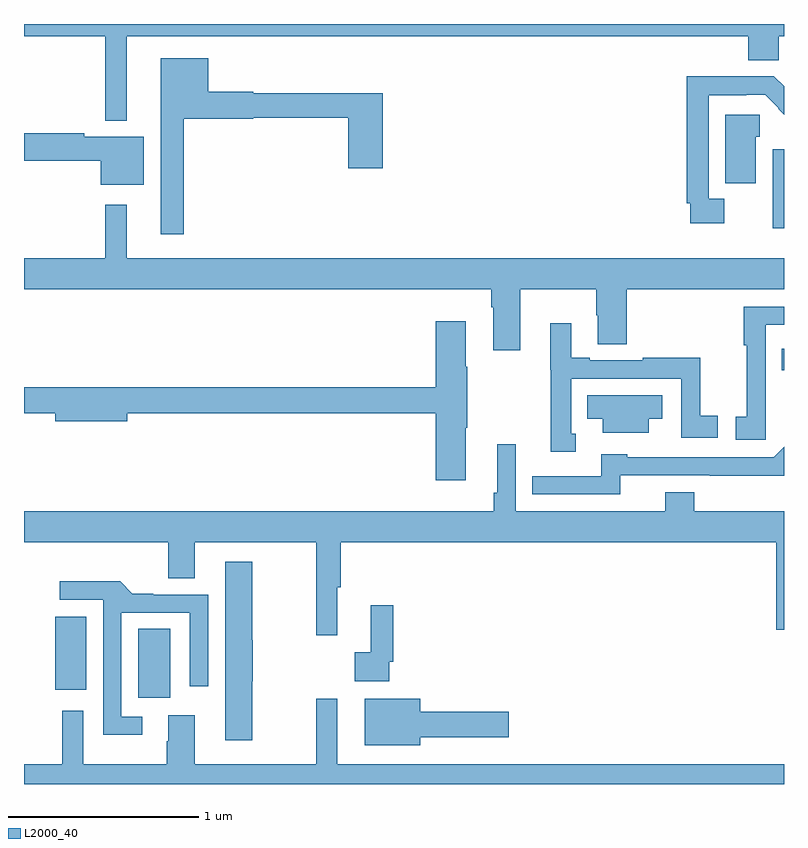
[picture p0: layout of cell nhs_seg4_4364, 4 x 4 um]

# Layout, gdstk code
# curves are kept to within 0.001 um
import gdstk
lib = gdstk.Library(unit=1e-6, precision=1e-09)
def R(c, l, rs):  # rectangles x0, y0, x1, y1
    for r in rs: c.add(gdstk.rectangle(r[:2], r[2:], *l))
def P(c, l, *ps):  # polygons
    for p in ps: c.add(gdstk.Polygon(p, *l))
L2000_40 = (2000, 40)

nhs_seg4_4364 = lib.new_cell('nhs_seg4_4364')
R(nhs_seg4_4364, L2000_40, [(345.602,777.354,345.769,777.716), (345.164,777.395,345.328,777.781), (348.988,779.078,349,779.191), (348.941,779.826,349,780.241)])
P(nhs_seg4_4364, L2000_40, [(345,780.836),(345.427,780.836),(345.427,780.392),(345.541,780.392),(345.541,780.836),(348.812,780.836),(348.812,780.71),(348.973,780.71),(348.973,780.836),(349,780.836),(349,780.9),(345,780.9)],
  [(345.841,780.401),(346.206,780.401),(346.206,780.406),(346.706,780.406),(346.706,780.141),(346.889,780.141),(346.889,780.535),(346.206,780.535),(346.206,780.543),(345.97,780.543),(345.97,780.721),(345.719,780.721),(345.719,779.793),(345.841,779.793)],
  [(348.686,779.98),(348.603,779.98),(348.603,780.524),(348.8,780.524),(348.8,780.528),(348.9,780.528),(348.972,780.456),(348.969,780.453),(349,780.422),(349,780.572),(348.947,780.625),(348.487,780.625),(348.487,779.956),(348.507,779.956),(348.507,779.852),(348.686,779.852)],
  [(348.85,780.306),(348.873,780.306),(348.873,780.423),(348.692,780.423),(348.692,780.061),(348.85,780.061)],
  [(345.631,780.307),(345.318,780.307),(345.318,780.326),(345,780.326),(345,780.179),(345.404,780.179),(345.404,780.053),(345.631,780.053)],
  [(347.611,779.504),(348.013,779.504),(348.013,779.366),(348.02,779.366),(348.02,779.215),(348.173,779.215),(348.173,779.504),(349,779.504),(349,779.668),(345.541,779.668),(345.541,779.95),(345.427,779.95),(345.427,779.668),(345,779.668),(345,779.504),(347.459,779.504),(347.459,779.408),(347.471,779.408),(347.471,779.184),(347.611,779.184)],
  [(348.904,778.988),(348.903,778.988),(348.903,779.316),(349,779.316),(349,779.412),(348.787,779.412),(348.787,779.209),(348.805,779.209),(348.805,778.833),(348.747,778.833),(348.747,778.713),(348.904,778.713)],
  [(347.326,778.775),(347.334,778.775),(347.334,779.096),(347.326,779.096),(347.326,779.335),(347.168,779.335),(347.168,778.988),(345,778.988),(345,778.852),(345.164,778.852),(345.164,778.81),(345.544,778.81),(345.544,778.852),(347.168,778.852),(347.168,778.5),(347.326,778.5)],
  [(347.905,778.743),(347.88,778.743),(347.88,779.034),(348.459,779.034),(348.459,778.722),(348.652,778.722),(348.652,778.838),(348.558,778.838),(348.558,779.143),(348.256,779.143),(348.256,779.13),(347.977,779.13),(347.977,779.143),(347.881,779.143),(347.881,779.326),(347.771,779.326),(347.771,779.081),(347.772,779.081),(347.772,778.649),(347.905,778.649)],
  [(348.289,778.823),(348.358,778.823),(348.358,778.945),(347.965,778.945),(347.965,778.823),(348.047,778.823),(348.047,778.748),(348.289,778.748)],
  [(346.649,777.936),(346.667,777.936),(346.667,778.172),(348.959,778.172),(348.959,777.711),(349,777.711),(349,778.336),(348.527,778.336),(348.527,778.435),(348.374,778.435),(348.374,778.336),(347.589,778.336),(347.589,778.687),(347.492,778.687),(347.492,778.432),(347.473,778.432),(347.473,778.336),(345,778.336),(345,778.172),(345.758,778.172),(345.758,777.982),(345.898,777.982),(345.898,778.172),(346.539,778.172),(346.539,777.684),(346.649,777.684)],
  [(348.138,778.524),(349,778.523),(349,778.675),(348.945,778.62),(348.174,778.62),(348.174,778.636),(348.038,778.636),(348.038,778.521),(347.674,778.521),(347.674,778.425),(348.138,778.425)],
  [(346.2,777.441),(346.205,777.441),(346.205,777.656),(346.2,777.656),(346.2,778.069),(346.058,778.069),(346.058,777.129),(346.2,777.129)],
  [(345.622,777.255),(345.513,777.255),(345.513,777.801),(345.873,777.801),(345.873,777.414),(345.969,777.414),(345.969,777.897),(345.679,777.897),(345.679,777.902),(345.571,777.902),(345.506,777.968),(345.189,777.968),(345.189,777.87),(345.417,777.87),(345.417,777.158),(345.622,777.158)],
  [(346.923,777.544),(346.943,777.544),(346.943,777.841),(346.826,777.841),(346.826,777.593),(346.74,777.593),(346.74,777.44),(346.923,777.44)],
  [(349,777.004),(346.648,777.004),(346.648,777.349),(346.539,777.349),(346.539,777.004),(345.898,777.004),(345.898,777.262),(345.758,777.262),(345.758,777.125),(345.751,777.125),(345.751,777.004),(345.313,777.004),(345.313,777.286),(345.2,777.286),(345.2,777.004),(345,777.004),(345,776.9),(349,776.9)],
  [(347.086,777.146),(347.551,777.146),(347.551,777.281),(347.086,777.281),(347.086,777.349),(346.793,777.349),(346.793,777.104),(347.086,777.104)])

lib.write_gds('nhs_seg4_4364.gds')
